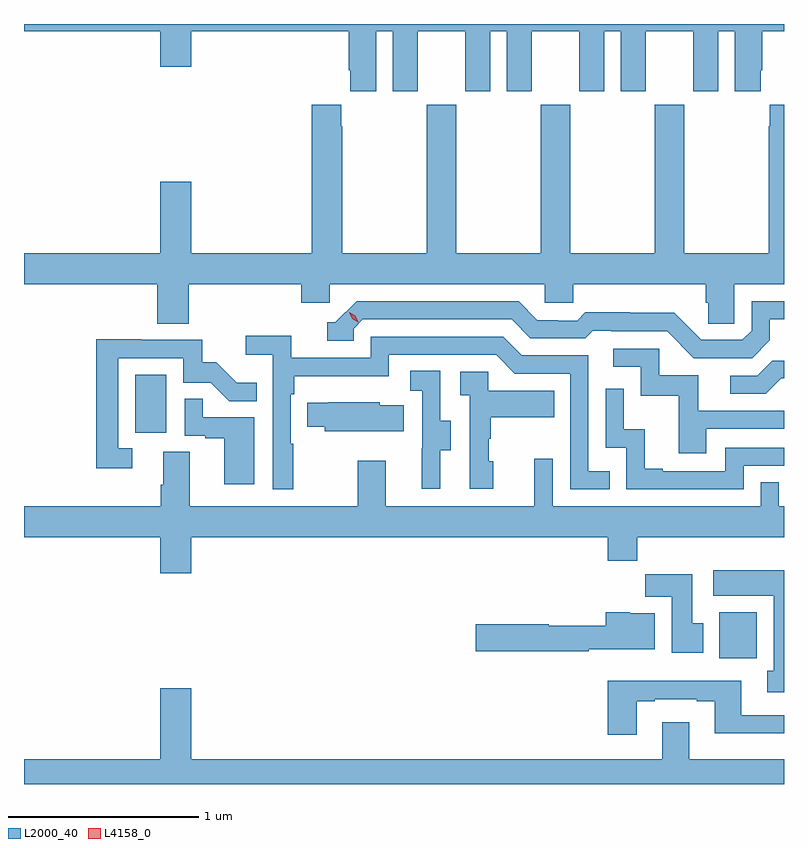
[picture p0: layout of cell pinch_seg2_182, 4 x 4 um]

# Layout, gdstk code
import gdstk
lib = gdstk.Library(unit=1e-6, precision=1e-09)
def R(c, l, rs):  # rectangles x0, y0, x1, y1
    for r in rs: c.add(gdstk.rectangle(r[:2], r[2:], *l))
def P(c, l, *ps):  # polygons
    for p in ps: c.add(gdstk.Polygon(p, *l))
L2000_40 = (2000, 40)
L4158_0 = (4158, 0)

pinch_seg2_182 = lib.new_cell('pinch_seg2_182')
R(pinch_seg2_182, L2000_40, [(1144.973,637.676,1145.17,637.918), (1141.898,638.862,1142.062,639.169)])
P(pinch_seg2_182, L2000_40, [(1143.166,640.976),(1143.254,640.976),(1143.254,640.659),(1143.385,640.659),(1143.385,640.976),(1143.635,640.976),(1143.635,640.659),(1143.766,640.659),(1143.766,640.976),(1143.854,640.976),(1143.854,640.659),(1143.985,640.659),(1143.985,640.976),(1144.235,640.976),(1144.235,640.659),(1144.366,640.659),(1144.366,640.976),(1144.454,640.976),(1144.454,640.659),(1144.585,640.659),(1144.585,640.976),(1144.835,640.976),(1144.835,640.659),(1144.966,640.659),(1144.966,640.976),(1145.054,640.976),(1145.054,640.659),(1145.191,640.659),(1145.191,640.771),(1145.198,640.771),(1145.198,640.976),(1145.313,640.976),(1145.313,641.014),(1141.313,641.014),(1141.313,640.976),(1142.03,640.976),(1142.03,640.788),(1142.194,640.788),(1142.194,640.976),(1143.023,640.976),(1143.023,640.771),(1143.029,640.771),(1143.029,640.659),(1143.166,640.659)],
  [(1142.18,639.644),(1142.771,639.644),(1142.771,639.546),(1142.922,639.546),(1142.922,639.644),(1144.053,639.644),(1144.053,639.546),(1144.203,639.546),(1144.203,639.644),(1144.901,639.644),(1144.901,639.546),(1144.915,639.546),(1144.915,639.436),(1145.052,639.436),(1145.052,639.644),(1145.313,639.644),(1145.313,640.588),(1145.237,640.588),(1145.237,640.475),(1145.233,640.475),(1145.233,639.808),(1144.788,639.808),(1144.788,640.588),(1144.633,640.588),(1144.633,639.808),(1144.188,639.808),(1144.188,640.588),(1144.033,640.588),(1144.033,639.808),(1143.588,639.808),(1143.588,640.588),(1143.433,640.588),(1143.433,639.808),(1142.988,639.808),(1142.988,640.475),(1142.983,640.475),(1142.983,640.588),(1142.828,640.588),(1142.828,639.808),(1142.194,639.808),(1142.194,640.183),(1142.03,640.183),(1142.03,639.808),(1141.313,639.808),(1141.313,639.644),(1142.015,639.644),(1142.015,639.436),(1142.18,639.436)],
  [(1145.239,639.349),(1145.239,639.459),(1145.313,639.459),(1145.313,639.555),(1145.142,639.555),(1145.142,639.399),(1145.094,639.351),(1144.878,639.351),(1144.736,639.493),(1144.5,639.493),(1144.5,639.496),(1144.267,639.496),(1144.225,639.453),(1144.122,639.453),(1144.122,639.456),(1144.015,639.456),(1143.916,639.555),(1143.063,639.555),(1142.952,639.444),(1142.909,639.444),(1142.909,639.348),(1143.048,639.348),(1143.048,639.411),(1143.096,639.459),(1143.879,639.459),(1143.978,639.36),(1144.267,639.36),(1144.306,639.399),(1144.405,639.399),(1144.405,639.396),(1144.698,639.396),(1144.839,639.255),(1145.145,639.255)],
  [(1142.731,638.804),(1142.718,638.804),(1142.718,639.065),(1142.735,639.065),(1142.735,639.161),(1143.234,639.161),(1143.234,639.273),(1143.798,639.273),(1143.897,639.174),(1144.188,639.174),(1144.188,638.565),(1144.397,638.565),(1144.397,638.661),(1144.284,638.661),(1144.284,639.27),(1143.934,639.27),(1143.835,639.369),(1143.138,639.369),(1143.138,639.258),(1142.72,639.258),(1142.72,639.374),(1142.481,639.374),(1142.481,639.272),(1142.622,639.272),(1142.622,638.565),(1142.731,638.565)],
  [(1141.882,638.781),(1141.809,638.781),(1141.809,639.255),(1142.151,639.255),(1142.151,639.126),(1142.295,639.126),(1142.393,639.028),(1142.537,639.028),(1142.537,639.127),(1142.433,639.127),(1142.326,639.234),(1142.25,639.234),(1142.25,639.351),(1141.931,639.351),(1141.931,639.356),(1141.693,639.356),(1141.693,638.676),(1141.882,638.676)],
  [(1144.903,638.883),(1145.313,638.883),(1145.313,638.979),(1144.861,638.979),(1144.861,639.165),(1144.656,639.165),(1144.656,639.306),(1144.413,639.306),(1144.413,639.21),(1144.56,639.21),(1144.56,639.057),(1144.759,639.057),(1144.759,638.754),(1144.903,638.754)],
  [(1145.299,639.15),(1145.313,639.15),(1145.313,639.242),(1145.252,639.242),(1145.172,639.162),(1145.031,639.162),(1145.031,639.069),(1145.218,639.069)],
  [(1143.505,638.77),(1143.559,638.77),(1143.559,638.925),(1143.504,638.925),(1143.504,639.188),(1143.345,639.188),(1143.345,639.085),(1143.408,639.085),(1143.408,638.781),(1143.407,638.781),(1143.407,638.568),(1143.505,638.568)],
  [(1143.784,638.712),(1143.759,638.712),(1143.759,638.831),(1143.769,638.831),(1143.769,638.945),(1144.103,638.945),(1144.103,639.085),(1143.756,639.085),(1143.756,639.183),(1143.609,639.183),(1143.609,639.059),(1143.66,639.059),(1143.66,638.568),(1143.784,638.568)],
  [(1145.1,638.688),(1145.313,638.688),(1145.313,638.784),(1145.004,638.784),(1145.004,638.661),(1144.675,638.661),(1144.675,638.674),(1144.58,638.674),(1144.58,638.882),(1144.47,638.882),(1144.47,639.094),(1144.374,639.094),(1144.374,638.784),(1144.482,638.784),(1144.482,638.565),(1145.1,638.565)],
  [(1142.524,638.943),(1142.255,638.943),(1142.255,639.041),(1142.16,639.041),(1142.16,638.847),(1142.267,638.847),(1142.267,638.835),(1142.366,638.835),(1142.366,638.592),(1142.524,638.592)],
  [(1143.311,639.007),(1143.186,639.007),(1143.186,639.022),(1142.914,639.022),(1142.914,639.021),(1142.803,639.021),(1142.803,638.893),(1142.897,638.893),(1142.897,638.87),(1143.311,638.87)],
  [(1142.194,638.312),(1144.385,638.312),(1144.385,638.188),(1144.541,638.188),(1144.541,638.312),(1145.313,638.312),(1145.313,638.476),(1145.286,638.476),(1145.286,638.603),(1145.19,638.603),(1145.19,638.476),(1144.095,638.476),(1144.095,638.725),(1143.998,638.725),(1143.998,638.476),(1143.217,638.476),(1143.217,638.716),(1143.07,638.716),(1143.07,638.476),(1142.185,638.476),(1142.185,638.762),(1142.045,638.762),(1142.045,638.588),(1142.033,638.588),(1142.033,638.476),(1141.313,638.476),(1141.313,638.312),(1142.03,638.312),(1142.03,638.124),(1142.194,638.124)],
  [(1145.313,638.14),(1144.941,638.14),(1144.941,638.006),(1145.258,638.006),(1145.258,637.61),(1145.225,637.61),(1145.225,637.497),(1145.313,637.497)],
  [(1144.888,637.86),(1144.831,637.86),(1144.831,638.119),(1144.582,638.119),(1144.582,638),(1144.721,638),(1144.721,637.704),(1144.888,637.704)],
  [(1144.286,637.724),(1144.633,637.724),(1144.633,637.912),(1144.5,637.912),(1144.5,637.918),(1144.375,637.918),(1144.375,637.846),(1144.074,637.846),(1144.074,637.854),(1143.69,637.854),(1143.69,637.712),(1144.286,637.712)],
  [(1144.537,637.449),(1144.633,637.449),(1144.633,637.461),(1144.853,637.461),(1144.853,637.449),(1144.949,637.449),(1144.949,637.28),(1145.313,637.28),(1145.313,637.377),(1145.089,637.377),(1145.089,637.558),(1144.385,637.558),(1144.385,637.272),(1144.537,637.272)],
  [(1145.313,637.144),(1144.813,637.144),(1144.813,637.339),(1144.673,637.339),(1144.673,637.144),(1142.194,637.144),(1142.194,637.519),(1142.03,637.519),(1142.03,637.144),(1141.313,637.144),(1141.313,637.014),(1145.313,637.014)])
P(pinch_seg2_182, L4158_0, [(1143.071,639.445),(1143.041,639.464),(1143.025,639.496),(1143.025,639.496),(1143.025,639.496),(1143.056,639.478),(1143.072,639.446),(1143.072,639.445)])

lib.write_gds('pinch_seg2_182.gds')
